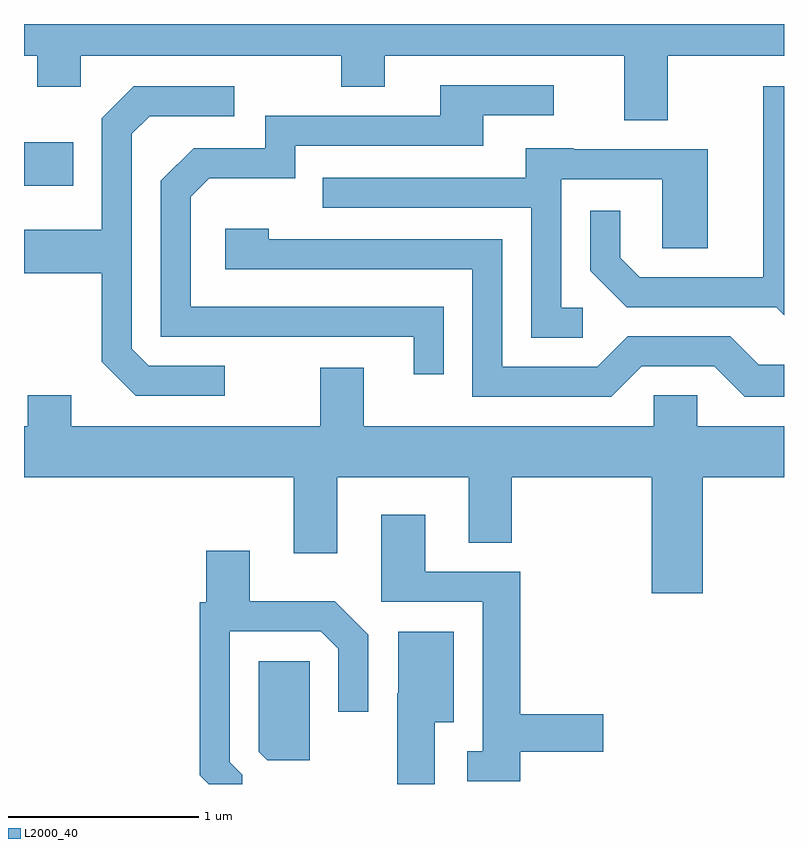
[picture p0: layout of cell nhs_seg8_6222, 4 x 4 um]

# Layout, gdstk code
import gdstk
lib = gdstk.Library(unit=1e-6, precision=1e-09)
def R(c, l, rs):  # rectangles x0, y0, x1, y1
    for r in rs: c.add(gdstk.rectangle(r[:2], r[2:], *l))
def P(c, l, *ps):  # polygons
    for p in ps: c.add(gdstk.Polygon(p, *l))
L2000_40 = (2000, 40)

nhs_seg8_6222 = lib.new_cell('nhs_seg8_6222')
R(nhs_seg8_6222, L2000_40, [(371.611,1853.491,371.869,1853.719)])
P(nhs_seg8_6222, L2000_40, [(374.999,1854.176),(375.611,1854.176),(375.611,1854.342),(371.611,1854.342),(371.611,1854.176),(371.681,1854.176),(371.681,1854.011),(371.909,1854.011),(371.909,1854.176),(373.281,1854.176),(373.281,1854.011),(373.509,1854.011),(373.509,1854.176),(374.771,1854.176),(374.771,1853.836),(374.999,1853.836)],
  [(373.819,1852.854),(372.489,1852.854),(372.489,1853.434),(372.587,1853.531),(373.039,1853.531),(373.039,1853.701),(374.029,1853.701),(374.029,1853.861),(374.398,1853.861),(374.398,1854.019),(373.801,1854.019),(373.801,1853.859),(372.881,1853.859),(372.881,1853.689),(372.504,1853.689),(372.331,1853.517),(372.331,1852.696),(373.661,1852.696),(373.661,1852.498),(373.819,1852.498)],
  [(372.668,1852.544),(372.267,1852.544),(372.179,1852.632),(372.179,1853.764),(372.272,1853.856),(372.718,1853.856),(372.718,1854.014),(372.189,1854.014),(372.021,1853.847),(372.021,1853.259),(371.611,1853.259),(371.611,1853.031),(372.021,1853.031),(372.021,1852.564),(372.199,1852.386),(372.668,1852.386)],
  [(375.611,1854.014),(375.501,1854.014),(375.501,1853.009),(374.852,1853.009),(374.749,1853.112),(374.749,1853.358),(374.591,1853.358),(374.591,1853.044),(374.784,1852.851),(375.569,1852.851),(375.611,1852.809)],
  [(374.553,1852.849),(374.439,1852.849),(374.439,1853.526),(374.971,1853.526),(374.971,1853.161),(375.209,1853.161),(375.209,1853.684),(374.505,1853.684),(374.505,1853.689),(374.251,1853.689),(374.251,1853.534),(373.183,1853.534),(373.183,1853.376),(374.281,1853.376),(374.281,1852.691),(374.553,1852.691)],
  [(374.862,1852.541),(375.244,1852.541),(375.404,1852.381),(375.611,1852.381),(375.611,1852.549),(375.477,1852.549),(375.327,1852.699),(374.789,1852.699),(374.629,1852.539),(374.129,1852.539),(374.129,1853.209),(372.899,1853.209),(372.899,1853.264),(372.671,1853.264),(372.671,1853.051),(373.971,1853.051),(373.971,1852.381),(374.702,1852.381)],
  [(375.184,1851.956),(375.611,1851.956),(375.611,1852.224),(375.154,1852.224),(375.154,1852.389),(374.926,1852.389),(374.926,1852.224),(373.399,1852.224),(373.399,1852.534),(373.171,1852.534),(373.171,1852.224),(371.859,1852.224),(371.859,1852.389),(371.631,1852.389),(371.631,1852.224),(371.611,1852.224),(371.611,1851.956),(373.031,1851.956),(373.031,1851.556),(373.259,1851.556),(373.259,1851.956),(373.951,1851.956),(373.951,1851.611),(374.179,1851.611),(374.179,1851.956),(374.916,1851.956),(374.916,1851.346),(375.184,1851.346)],
  [(374.224,1850.511),(374.659,1850.511),(374.659,1850.709),(374.224,1850.709),(374.224,1851.459),(373.724,1851.459),(373.724,1851.759),(373.491,1851.759),(373.491,1851.301),(374.026,1851.301),(374.026,1850.514),(373.943,1850.514),(373.943,1850.356),(374.224,1850.356)],
  [(372.759,1850.392),(372.694,1850.457),(372.694,1851.146),(373.174,1851.146),(373.266,1851.054),(373.266,1850.723),(373.424,1850.723),(373.424,1851.127),(373.247,1851.304),(372.799,1851.304),(372.799,1851.569),(372.571,1851.569),(372.571,1851.299),(372.536,1851.299),(372.536,1850.389),(372.583,1850.342),(372.759,1850.342)],
  [(373.774,1850.666),(373.874,1850.666),(373.874,1851.144),(373.581,1851.144),(373.581,1850.82),(373.576,1850.82),(373.576,1850.342),(373.774,1850.342)],
  [(373.114,1850.989),(372.846,1850.989),(372.846,1850.512),(372.892,1850.466),(373.114,1850.466)])

lib.write_gds('nhs_seg8_6222.gds')
